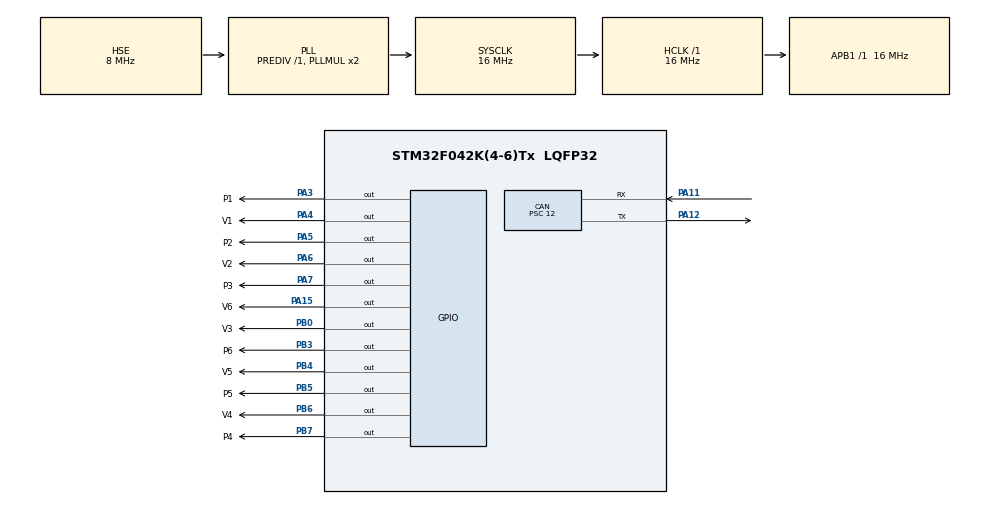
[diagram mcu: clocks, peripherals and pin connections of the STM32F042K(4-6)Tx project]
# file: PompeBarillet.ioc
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CAN.BS1=CAN_BS1_13TQ
CAN.BS2=CAN_BS2_2TQ
CAN.CalculateTimeQuantum=750.0
CAN.Prescaler=12
Mcu.Family=STM32F0
Mcu.Name=STM32F042K(4-6)Tx
Mcu.Package=LQFP32
NVIC.CEC_CAN_IRQn=true\:0\:0\:false\:false\:true\:true\:true
PA11.Mode=Master
PA11.Signal=CAN_RX
PA12.Mode=Master
PA12.Signal=CAN_TX
PA13.Mode=Serial_Wire
PA13.Signal=SYS_SWDIO
PA14.Mode=Serial_Wire
PA14.Signal=SYS_SWCLK
PA15.GPIO_Label=V6
PA15.Signal=GPIO_Output
PA3.GPIO_Label=P1
PA3.Signal=GPIO_Output
PA4.GPIO_Label=V1
PA4.Signal=GPIO_Output
PA5.GPIO_Label=P2
PA5.Signal=GPIO_Output
PA6.GPIO_Label=V2
PA6.Signal=GPIO_Output
PA7.GPIO_Label=P3
PA7.Signal=GPIO_Output
PB0.GPIO_Label=V3
PB0.Signal=GPIO_Output
PB3.GPIO_Label=P6
PB3.Signal=GPIO_Output
PB4.GPIO_Label=V5
PB4.Signal=GPIO_Output
PB5.GPIO_Label=P5
PB5.Signal=GPIO_Output
PB6.GPIO_Label=V4
PB6.Signal=GPIO_Output
PB7.GPIO_Label=P4
PB7.Signal=GPIO_Output
PF0-OSC_IN.Mode=HSE-External-Oscillator
PF0-OSC_IN.Signal=RCC_OSC_IN
PF1-OSC_OUT.Mode=HSE-External-Oscillator
PF1-OSC_OUT.Signal=RCC_OSC_OUT
ProjectManager.HeapSize=0x200
ProjectManager.StackSize=0x400
ProjectManager.TargetToolchain=STM32CubeIDE
RCC.AHBFreq_Value=16000000
RCC.APB1Freq_Value=16000000
RCC.APB1TimFreq_Value=16000000
RCC.HCLKFreq_Value=16000000
RCC.PLLSourceVirtual=RCC_PLLSOURCE_HSE
RCC.SYSCLKFreq_VALUE=16000000
RCC.SYSCLKSource=RCC_SYSCLKSOURCE_PLLCLK
board=custom

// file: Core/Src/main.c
/* USER CODE BEGIN Header */
/**
  ******************************************************************************
  * @file           : main.c
  * @brief          : Firmware for CDR2020's barillet pcb, handle CANbus and 6 pumps and 6 e-valves.
  ******************************************************************************
  * @attention
  *
  * <h2><center>&copy; Copyright (c) 2020 STMicroelectronics.
  * All rights reserved.</center></h2>
  *
  * This software component is licensed by ST under BSD 3-Clause license,
  * the "License"; You may not use this file except in compliance with the
  * License. You may obtain a copy of the License at:
  *                        opensource.org/licenses/BSD-3-Clause
  *
  ******************************************************************************
  */
/* USER CODE END Header */
#include "main.h"

CAN_HandleTypeDef hcan;

CAN_RxHeaderTypeDef Rxheader;
CAN_TxHeaderTypeDef Txheader;
uint8_t Rxmsg[8];
uint32_t RxMailbox;
uint32_t Txmailbox;

void SystemClock_Config(void);
static void MX_GPIO_Init(void);
static void MX_CAN_Init(void);
/* USER CODE BEGIN PFP */

void TogglePump(uint8_t pin,uint16_t state);

/* USER CODE END PFP */

/* USER CODE BEGIN 0 */
void TogglePump(uint8_t pin, uint16_t state){

	switch (pin)
		{
		case 1:
			pin=P1_Pin;
			HAL_GPIO_WritePin(P1_GPIO_Port, pin, state);
			break;
		case 2:
			pin=P2_Pin;
			HAL_GPIO_WritePin(P2_GPIO_Port, pin, state);
			break;
		case 3:
			pin=P3_Pin;
			HAL_GPIO_WritePin(P3_GPIO_Port, pin, state);
			break;
		case 4:
			pin=P4_Pin;
			HAL_GPIO_WritePin(P4_GPIO_Port, pin, state);
			break;
		case 5:
			pin=P5_Pin;
			HAL_GPIO_WritePin(P5_GPIO_Port, pin, state);
			break;
		case 6:
			pin=P6_Pin;
			HAL_GPIO_WritePin(P6_GPIO_Port, pin, state);
			break;

		}
}

void ToggleValve(uint16_t pin, uint16_t state){

	switch (pin)
		{
		case 1:
			pin=V1_Pin;
			HAL_GPIO_WritePin(V1_GPIO_Port, pin, state);
			break;
		case 2:
			pin=V2_Pin;
			HAL_GPIO_WritePin(V2_GPIO_Port, pin, state);
			break;
		case 3:
			pin=V3_Pin;
			HAL_GPIO_WritePin(V3_GPIO_Port, pin, state);
			break;
		case 4:
			pin=V4_Pin;
			HAL_GPIO_WritePin(V4_GPIO_Port, pin, state);
			break;
		case 5:
			pin=V5_Pin;
			HAL_GPIO_WritePin(V5_GPIO_Port, pin, state);
			break;
		case 6:
			pin=V6_Pin;
			HAL_GPIO_WritePin(V6_GPIO_Port, pin, state);
			break;

		}
}
/* USER CODE END 0 */

int main(void)
{

  /* MCU Configuration--------------------------------------------------------*/

  /* Reset of all peripherals, Initializes the Flash interface and the Systick. */
  HAL_Init();

  /* Configure the system clock */
  SystemClock_Config();

  /* Initialize all configured peripherals */
  MX_GPIO_Init();
  MX_CAN_Init();
  /* USER CODE BEGIN 2 */
  HAL_CAN_MspInit(&hcan);

  /* USER CODE END 2 */

  /* Infinite loop */
  /* USER CODE BEGIN WHILE */
  while (1)
  {
	  if(HAL_CAN_GetRxFifoFillLevel(&hcan, CAN_RX_FIFO0)>0)
	  {
	  HAL_CAN_GetRxMessage(&hcan, CAN_RX_FIFO0, &Rxheader, Rxmsg);
	  uint8_t pin = Rxmsg[1];
	  uint8_t state = Rxmsg[2];

	  if(Rxmsg[0]=='p')
		 TogglePump(pin, state);
	  if(Rxmsg[0]=='v')
		  ToggleValve(pin, state);
	  }

	  if(HAL_CAN_GetRxFifoFillLevel(&hcan, CAN_RX_FIFO1)>0)
	  {
		 HAL_CAN_GetRxMessage(&hcan, CAN_RX_FIFO1, &Rxheader, Rxmsg);

		 uint8_t pin = Rxmsg[1];
		 uint8_t state = Rxmsg[2];

		 if(Rxmsg[0]=='p')
			 TogglePump(pin, state);
		 if(Rxmsg[0]=='v')
			 ToggleValve(pin, state);

	  }

	  //HAL_Delay(500);

    /* USER CODE END WHILE */

  }
}

void SystemClock_Config(void)
{
  RCC_OscInitTypeDef RCC_OscInitStruct = {0};
  RCC_ClkInitTypeDef RCC_ClkInitStruct = {0};

  /** Initializes the RCC Oscillators according to the specified parameters
  * in the RCC_OscInitTypeDef structure.
  */
  RCC_OscInitStruct.OscillatorType = RCC_OSCILLATORTYPE_HSE;
  RCC_OscInitStruct.HSEState = RCC_HSE_ON;
  RCC_OscInitStruct.PLL.PLLState = RCC_PLL_ON;
  RCC_OscInitStruct.PLL.PLLSource = RCC_PLLSOURCE_HSE;
  RCC_OscInitStruct.PLL.PLLMUL = RCC_PLL_MUL2;
  RCC_OscInitStruct.PLL.PREDIV = RCC_PREDIV_DIV1;
  if (HAL_RCC_OscConfig(&RCC_OscInitStruct) != HAL_OK)
  {
    Error_Handler();
  }
  /** Initializes the CPU, AHB and APB buses clocks
  */
  RCC_ClkInitStruct.ClockType = RCC_CLOCKTYPE_HCLK|RCC_CLOCKTYPE_SYSCLK
                              |RCC_CLOCKTYPE_PCLK1;
  RCC_ClkInitStruct.SYSCLKSource = RCC_SYSCLKSOURCE_PLLCLK;
  RCC_ClkInitStruct.AHBCLKDivider = RCC_SYSCLK_DIV1;
  RCC_ClkInitStruct.APB1CLKDivider = RCC_HCLK_DIV1;

  if (HAL_RCC_ClockConfig(&RCC_ClkInitStruct, FLASH_LATENCY_0) != HAL_OK)
  {
    Error_Handler();
  }
}

static void MX_CAN_Init(void)
{
	CAN_FilterTypeDef filter;
  /* USER CODE BEGIN CAN_Init 0 */
	__HAL_RCC_CAN1_CLK_ENABLE();

  /* USER CODE END CAN_Init 0 */

  /* USER CODE BEGIN CAN_Init 1 */
	/*GPIO_InitTypeDef GPIO_InitCAN;

	__HAL_RCC_CAN1_CLK_ENABLE();

	GPIO_InitCAN.Pin= GPIO_PIN_11|GPIO_PIN_12;
	GPIO_InitCAN.Mode= GPIO_MODE_AF_PP;
	GPIO_InitCAN.Pull= GPIO_NOPULL;
	GPIO_InitCAN.Speed = GPIO_SPEED_FREQ_HIGH;
	GPIO_InitCAN.Alternate=GPIO_AF4_CAN;
	HAL_GPIO_Init(GPIOA, &GPIO_InitCAN);*/
  /* USER CODE END CAN_Init 1 */
  hcan.Instance = CAN;
  hcan.Init.Prescaler = 3;
  hcan.Init.Mode = CAN_MODE_NORMAL;
  hcan.Init.SyncJumpWidth = CAN_SJW_1TQ;
  hcan.Init.TimeSeg1 = CAN_BS1_13TQ;
  hcan.Init.TimeSeg2 = CAN_BS2_2TQ;
  hcan.Init.TimeTriggeredMode = DISABLE;
  hcan.Init.AutoBusOff = DISABLE;
  hcan.Init.AutoWakeUp = DISABLE;
  hcan.Init.AutoRetransmission = DISABLE;
  hcan.Init.ReceiveFifoLocked = DISABLE;
  hcan.Init.TransmitFifoPriority = DISABLE;
  if (HAL_CAN_Init(&hcan) != HAL_OK)
  {
    Error_Handler();
  }
  /* USER CODE BEGIN CAN_Init 2 */
  filter.FilterBank = 0;
  filter.FilterIdHigh=0x130;
  filter.FilterIdLow=0;
  filter.FilterMaskIdHigh=0;
  filter.FilterMaskIdLow=0;
  filter.FilterMode=CAN_FILTERMODE_IDMASK;
  filter.FilterScale=CAN_FILTERSCALE_32BIT;
  filter.FilterBank=CAN_FILTER_FIFO0;
  filter.FilterActivation=CAN_FILTER_ENABLE;
  filter.SlaveStartFilterBank=14;

  Txheader.StdId = 0x320;      // Détermine l'adresse du périphérique au quel la trame est destiné.
  	                                 // Si plusieurs périphériques sur le bus comprennent cette adresse dans leur filtre, ils recevront tous la trame.
  Txheader.ExtId = 0x0;       // Adresse étendue, non utilisée dans note cas
  Txheader.RTR = CAN_RTR_DATA; // Précise que la trame contient des données
  Txheader.IDE = CAN_ID_STD;   // Précise que la trame est de type Standard
  Txheader.DLC = 4;            // Précise le nombre d'octets de données que la trame transporte ( De 0 à 8 )
  Txheader.TransmitGlobalTime = DISABLE;

  HAL_CAN_ConfigFilter(&hcan, &filter); //configure CAN filter
  HAL_CAN_Start(&hcan);
    //HAL_CAN_ActivateNotification(&hcan, CAN_IT_RX_FIFO0_MSG_PENDING);
  /* USER CODE END CAN_Init 2 */

}

static void MX_GPIO_Init(void)
{
  GPIO_InitTypeDef GPIO_InitStruct = {0};

  /* GPIO Ports Clock Enable */
  __HAL_RCC_GPIOF_CLK_ENABLE();
  __HAL_RCC_GPIOA_CLK_ENABLE();
  __HAL_RCC_GPIOB_CLK_ENABLE();

  /*Configure GPIO pin Output Level */
  HAL_GPIO_WritePin(GPIOA, P1_Pin|V1_Pin|P2_Pin|V2_Pin
                          |P3_Pin|V6_Pin, GPIO_PIN_RESET);

  /*Configure GPIO pin Output Level */
  HAL_GPIO_WritePin(GPIOB, V3_Pin|P6_Pin|V5_Pin|P5_Pin
                          |V4_Pin|P4_Pin, GPIO_PIN_RESET);

  /*Configure GPIO pins : P1_Pin V1_Pin P2_Pin V2_Pin
                           P3_Pin V6_Pin */
  GPIO_InitStruct.Pin = P1_Pin|V1_Pin|P2_Pin|V2_Pin
                          |P3_Pin|V6_Pin;
  GPIO_InitStruct.Mode = GPIO_MODE_OUTPUT_PP;
  GPIO_InitStruct.Pull = GPIO_NOPULL;
  GPIO_InitStruct.Speed = GPIO_SPEED_FREQ_LOW;
  HAL_GPIO_Init(GPIOA, &GPIO_InitStruct);

  /*Configure GPIO pins : V3_Pin P6_Pin V5_Pin P5_Pin
                           V4_Pin P4_Pin */
  GPIO_InitStruct.Pin = V3_Pin|P6_Pin|V5_Pin|P5_Pin
                          |V4_Pin|P4_Pin;
  GPIO_InitStruct.Mode = GPIO_MODE_OUTPUT_PP;
  GPIO_InitStruct.Pull = GPIO_NOPULL;
  GPIO_InitStruct.Speed = GPIO_SPEED_FREQ_LOW;
  HAL_GPIO_Init(GPIOB, &GPIO_InitStruct);

}

void Error_Handler(void)
{
  /* USER CODE BEGIN Error_Handler_Debug */
  /* User can add his own implementation to report the HAL error return state */
 HAL_GPIO_TogglePin(GPIOA, P1_Pin);
  /* USER CODE END Error_Handler_Debug */
}

/************************ (C) COPYRIGHT STMicroelectronics *****END OF FILE****/
